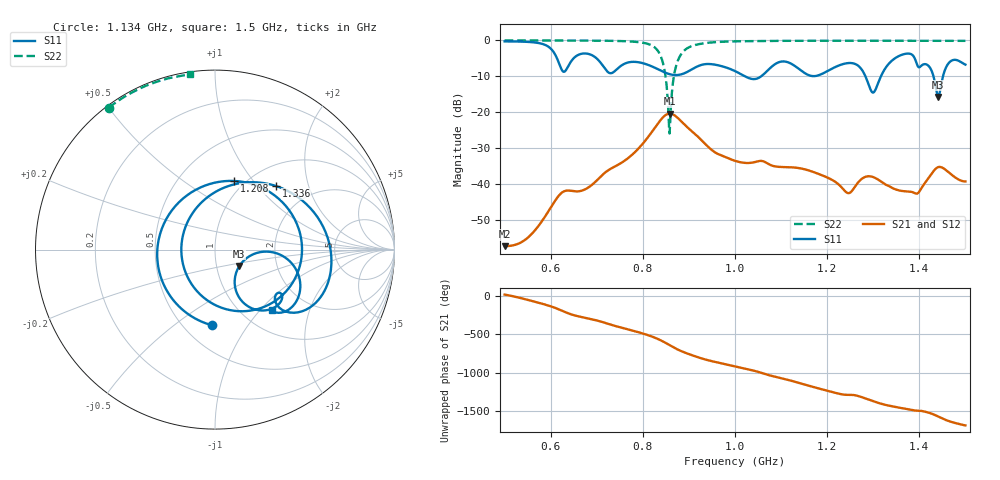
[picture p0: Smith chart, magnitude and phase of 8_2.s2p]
! TOUCHSTONE file generated by CST MICROWAVE STUDIO
! Date and time: Thu Feb 11 19:31:49 2021
! Project name: Scenario_1_Planar_Body_Tissue_Out_of_Line.cst
! Parameters = {L_HA=400; Ltissue=1000; MT=2.54; Rad_Dielectric=30; Rad_Lower=7.3; Rad_Upper=30; Wtissue=1000; a_HA=580; a_WG=246; b_HA=500; b_WG=121; c_HA=0; c_WG=187; d_feed=85; dx1=346; dy1=-224.9; h_feed=15; h_lower=18; h_upper=40; hfat=3; hgap=25; hmuscle=50; hskin=1.5}
! Header version: 2018
! Port assignment regex: !\s*Touchstone port\s*([0-9]+)\s*=\s*(CST MWS port|CST DS port)\s*([0-9]+|Zmin|Zmax)\s*\(\"(.*)\"\)(\s*mode\s*([0-9]+))?.*
! Touchstone port assignment:
! Touchstone port 1 = CST MWS port 1 ("")
! Touchstone port 2 = CST MWS port 2 ("")
# GHz S DB R 50
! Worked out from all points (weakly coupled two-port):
!   1003 points, 500 MHz to 1.5 GHz, reference 50 ohm
!   highest |S21| = -20.39 dB at 858 MHz (marker M1); lowest = -57.3 dB at 500 MHz (marker M2)
!   lowest |S11| = -15.7 dB at 1.441 GHz (marker M3), VSWR 1.39, Z = 64.4 - j12.1 ohm
!   |S11| at or under -10 dB: 1.022 GHz to 1.057 GHz (35.15 MHz wide, 3.38 % of centre); 1.283 GHz to 1.317 GHz (33.68 MHz wide, 2.59 % of centre); 1.431 GHz to 1.451 GHz (20.7 MHz wide, 1.44 % of centre)
!   |S22| runs from -25.9 to 0.0 dB; largest |S21 - S12| = 5e-05
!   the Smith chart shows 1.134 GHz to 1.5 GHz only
!   S11 on the Smith chart (normalised r, x): 1.134 GHz: 0.68, -0.70; 1.208 GHz: 0.89, +0.81; 1.336 GHz: 1.35, +1.26; 1.5 GHz: 1.36, -1.15
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0.5  -0.27 -121.6  -57.32 13.6  -57.32 13.6  -0.01 151.1
0.667  -3.71 158.1  -41.88 82.1  -41.88 82.1  -0.04 138.4
0.718  -7.91 24.0  -36.83 7.1  -36.83 7.1  -0.09 132.6
0.742  -8.23 -97.0  -34.94 -36.4  -34.94 -36.4  -0.14 129.0
0.77  -6.08 177.2  -32.59 -81.2  -32.59 -81.2  -0.27 123.2
0.834  -8.09 36.6  -22.92 154.6  -22.92 154.6  -3.18 83.5
0.858  -9.40 -25.4  -20.39 78.0  -20.39 78.0  -25.93 -55.3
0.909  -7.87 179.0  -25.60 -56.9  -25.60 -56.9  -1.45 163.1
0.939  -6.57 85.0  -29.31 -113.4  -29.31 -113.4  -0.69 152.0
1  -8.54 -62.9  -33.54 161.9  -33.54 161.9  -0.26 140.3
1.043  -10.76 -178.1  -33.90 104.3  -33.90 104.3  -0.18 135.2
1.077  -7.63 73.7  -34.70 44.4  -34.70 44.4  -0.14 131.9
1.103  -5.86 -4.8  -35.28 7.5  -35.28 7.5  -0.12 129.5
1.134  -7.49 -91.9  -35.48 -42.8  -35.48 -42.8  -0.11 126.9
1.167  -9.92 173.3  -36.52 -98.8  -36.52 -98.8  -0.10 124.2
1.208  -8.03 74.6  -38.67 -164.5  -38.67 -164.5  -0.09 121.1
1.277  -8.49 -66.0  -38.40 120.7  -38.40 120.7  -0.09 115.9
1.334  -6.46 50.0  -40.60 14.5  -40.60 14.6  -0.08 111.6
1.336  -6.19 46.3  -40.75 12.1  -40.76 12.1  -0.08 111.4
1.388  -4.51 -35.3  -42.41 -46.9  -42.41 -46.9  -0.09 107.4
1.441  -15.73 -34.1  -35.31 -126.9  -35.31 -126.9  -0.11 103.1
1.5  -6.74 -46.7  -39.29 118.1  -39.29 118.1  -0.12 98.0
